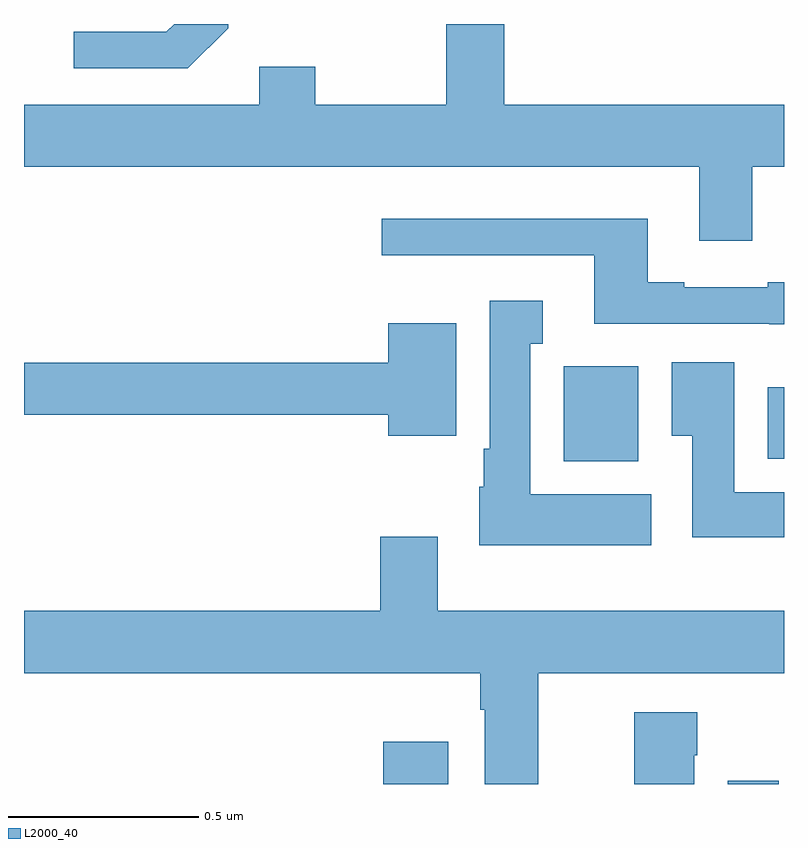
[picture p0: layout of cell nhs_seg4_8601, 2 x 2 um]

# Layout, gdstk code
import gdstk
lib = gdstk.Library(unit=1e-6, precision=1e-09)
def R(c, l, rs):  # rectangles x0, y0, x1, y1
    for r in rs: c.add(gdstk.rectangle(r[:2], r[2:], *l))
def P(c, l, *ps):  # polygons
    for p in ps: c.add(gdstk.Polygon(p, *l))
L2000_40 = (2000, 40)

nhs_seg4_8601 = lib.new_cell('nhs_seg4_8601')
R(nhs_seg4_8601, L2000_40, [(217.946,757.9,218.116,758.011), (218.852,757.9,218.986,757.909), (218.421,758.75,218.617,759), (218.957,758.756,219,758.944)])
P(nhs_seg4_8601, L2000_40, [(218.917,759.524),(219,759.524),(219,759.688),(218.264,759.688),(218.264,759.9),(218.111,759.9),(218.111,759.688),(217.767,759.688),(217.767,759.787),(217.619,759.787),(217.619,759.688),(217,759.688),(217,759.524),(218.777,759.524),(218.777,759.33),(218.917,759.33)],
  [(217.537,759.889),(217.537,759.9),(217.395,759.9),(217.374,759.879),(217.131,759.879),(217.131,759.783),(217.431,759.783)],
  [(219,759.22),(218.957,759.22),(218.957,759.207),(218.737,759.207),(218.737,759.22),(218.641,759.22),(218.641,759.388),(217.941,759.388),(217.941,759.291),(218.501,759.291),(218.501,759.111),(218.961,759.111),(218.961,759.11),(219,759.11)],
  [(218.65,758.662),(218.332,758.662),(218.332,759.059),(218.365,759.059),(218.365,759.172),(218.225,759.172),(218.225,758.782),(218.21,758.782),(218.21,758.682),(218.198,758.682),(218.198,758.528),(218.65,758.528)],
  [(218.137,759.112),(217.958,759.112),(217.958,759.008),(217,759.008),(217,758.872),(217.958,758.872),(217.958,758.816),(218.137,758.816)],
  [(219,758.668),(218.869,758.668),(218.869,759.01),(218.705,759.01),(218.705,758.816),(218.759,758.816),(218.759,758.55),(219,758.55)],
  [(218.353,758.192),(219,758.192),(219,758.356),(218.089,758.356),(218.089,758.551),(217.937,758.551),(217.937,758.356),(217,758.356),(217,758.192),(218.201,758.192),(218.201,758.096),(218.213,758.096),(218.213,757.9),(218.353,757.9)],
  [(218.764,757.976),(218.772,757.976),(218.772,758.089),(218.606,758.089),(218.606,757.9),(218.764,757.9)])

lib.write_gds('nhs_seg4_8601.gds')
